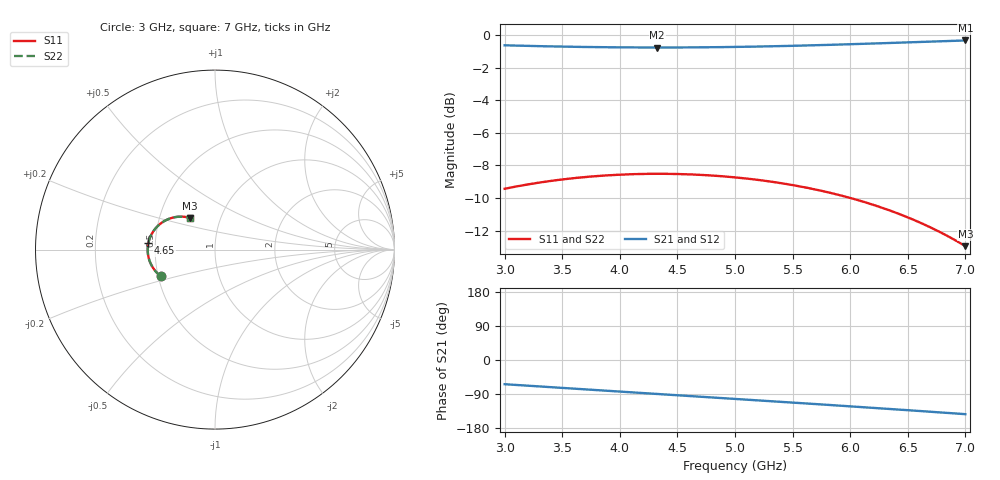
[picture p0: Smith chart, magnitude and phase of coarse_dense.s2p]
! yapnr rf: line-osh-m-w0p70-l10-m-eq-em528, footprint re-simulated (optimization grid)
! spec sha256 95115260e7bca0ab75954ed12e368a36f645f1f0d777a890ce1507a124cb5f00
! 2 ports renormalized to 50 ohm, e^(+jwt) convention
# GHz S RI R 50
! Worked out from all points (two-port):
!   161 points, 3 GHz to 7 GHz, reference 50 ohm
!   highest |S21| = -0.34 dB at 7 GHz (marker M1); lowest = -0.8 dB at 4.325 GHz (marker M2)
!   |S21| within 3 dB of the highest: start of sweep to end of sweep
!   lowest |S11| = -13.0 dB at 7 GHz (marker M3), VSWR 1.58, Z = 35.7 + j13.3 ohm
!   |S11| at or under -10 dB: 6 GHz to end of sweep
!   |S22| runs from -13.0 to -8.5 dB; largest |S21 - S12| = 0
!   S11 on the Smith chart (normalised r, x): 3 GHz: 0.52, -0.17; 4.65 GHz: 0.46, +0.04; 7 GHz: 0.71, +0.27
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3  -0.3034 -0.1474  0.4093 -0.8344  0.4093 -0.8344  -0.3034 -0.1474
3.325  -0.333 -0.1187  0.3119 -0.8692  0.3119 -0.8692  -0.333 -0.1187
3.5  -0.3459 -0.1009  0.259 -0.8837  0.259 -0.8837  -0.3459 -0.1009
3.675  -0.3566 -0.0817  0.2058 -0.8954  0.2058 -0.8954  -0.3566 -0.0817
4  -0.3701 -0.0436  0.1065 -0.9098  0.1065 -0.9098  -0.3701 -0.0436
4.325  -0.375 -0.00365  0.00694 -0.915  0.00694 -0.915  -0.375 -0.00365
4.35  -0.375 -0.000548  -0.000722 -0.9151  -0.000722 -0.9151  -0.375 -0.000548
4.65  -0.3712 0.0364  -0.0927 -0.9112  -0.0927 -0.9112  -0.3712 0.0364
4.825  -0.3655 0.0574  -0.1463 -0.9053  -0.1463 -0.9053  -0.3655 0.0574
5  -0.3573 0.0777  -0.1998 -0.8967  -0.1998 -0.8967  -0.3573 0.0777
5.175  -0.3468 0.0969  -0.2531 -0.8854  -0.2531 -0.8854  -0.3468 0.0969
5.35  -0.334 0.1149  -0.3063 -0.8712  -0.3063 -0.8712  -0.334 0.1149
5.525  -0.3191 0.1313  -0.3591 -0.854  -0.3591 -0.854  -0.3191 0.1313
5.675  -0.3047 0.1439  -0.404 -0.8369  -0.404 -0.8369  -0.3047 0.1439
5.85  -0.2863 0.1567  -0.4559 -0.8141  -0.4559 -0.8141  -0.2863 0.1567
6.025  -0.2663 0.1673  -0.507 -0.788  -0.507 -0.788  -0.2663 0.1673
6.2  -0.2449 0.1754  -0.5572 -0.7585  -0.5572 -0.7585  -0.2449 0.1754
6.35  -0.2258 0.1802  -0.5993 -0.7306  -0.5993 -0.7306  -0.2258 0.1802
6.525  -0.2028 0.1833  -0.6472 -0.6948  -0.6472 -0.6948  -0.2028 0.1833
6.7  -0.1793 0.1834  -0.6933 -0.6554  -0.6933 -0.6554  -0.1793 0.1834
6.85  -0.1592 0.1811  -0.7312 -0.6189  -0.7312 -0.6189  -0.1592 0.1811
7  -0.1393 0.1766  -0.7674 -0.5798  -0.7674 -0.5798  -0.1393 0.1766
